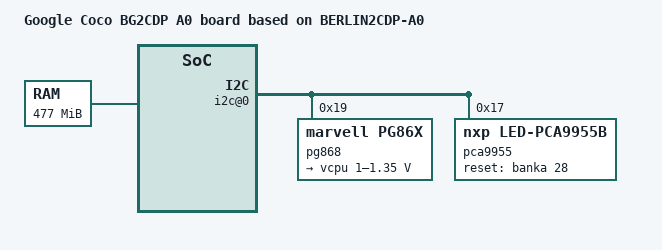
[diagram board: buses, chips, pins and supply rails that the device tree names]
/*
 * Google Coco BG2CDP A0 board device tree source
 *
 * Copyright (c) 2017 Marvell International Ltd.
 *		http://www.marvell.com
 *
 * This program is free software; you can redistribute it and/or modify
 * it under the terms of the GNU General Public License version 2 as
 * published by the Free Software Foundation.
*/

/dts-v1/;
/include/ "berlin2cdp-a0.dtsi"

/ {
	model = "Google Coco BG2CDP A0 board based on BERLIN2CDP-A0";
	compatible = "marvell,berlin2cdp-coco", "marvell,berlin2cdp", "marvell,berlin";
	aliases {
		serial0 = &uart0;
	};

	cpus {
		cpu@0 {
			cpu0-supply = <&vcpu>;
		};
	};

	memory {
		name = "memory";
		device_type = "memory";
		reg = <0x01100000 0x1DD00000>;
	};

	soc {
		shm@29000000 {
			compatible = "mrvl,berlin-shm";
			reg = <0x1EE00000 0x01000000>, <0x1FE00000 0x00100000>;
		};

		i2c@0 {
			pg868 {
				#address-cells = <1>;
				#size-cells = <0>;
				compatible = "marvell,pg86x";
				reg = <0x19>;
				vcpu:BK1_TV@0 {
					regulator-name = "vcpu";
					regulator-min-microvolt = <1000000>;
					regulator-max-microvolt = <1350000>;
					regulator-always-on;
					regulator-boot-on;
				};
			};
			pca9955 {
				compatible = "nxp,led-pca9955b";
				reg = <0x17>;
				num_leds = <4>;
				//starting LED # of each set
				start_num = <1 5 9 13>;
				reset_gpio = <&banka 28 0>;
			};
		};
		tsen@F7FCD000 {
			pwr-gpio = <&banka 5 0>;
		};
	};
};
